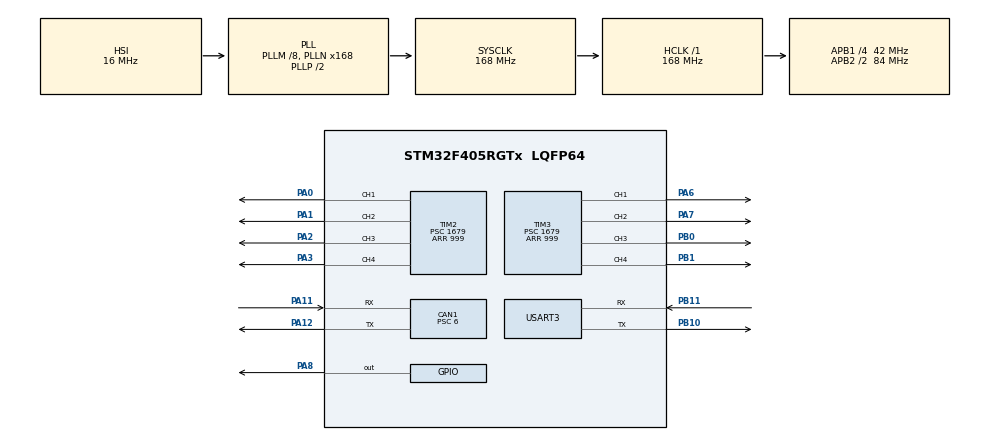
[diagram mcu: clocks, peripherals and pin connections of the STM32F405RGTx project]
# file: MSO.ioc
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CAN1.BS1=CAN_BS1_4TQ
CAN1.BS2=CAN_BS2_2TQ
CAN1.CalculateBaudRate=1000000
CAN1.CalculateTimeBit=1000
CAN1.CalculateTimeQuantum=142.85714285714286
CAN1.Mode=CAN_MODE_NORMAL
CAN1.Prescaler=6
Dma.Request0=USART3_RX
Dma.Request1=USART3_TX
Dma.USART3_RX.0.Direction=DMA_PERIPH_TO_MEMORY
Dma.USART3_RX.0.FIFOMode=DMA_FIFOMODE_DISABLE
Dma.USART3_RX.0.Instance=DMA1_Stream1
Dma.USART3_RX.0.MemDataAlignment=DMA_MDATAALIGN_BYTE
Dma.USART3_RX.0.MemInc=DMA_MINC_ENABLE
Dma.USART3_RX.0.Mode=DMA_NORMAL
Dma.USART3_RX.0.PeriphDataAlignment=DMA_PDATAALIGN_BYTE
Dma.USART3_RX.0.PeriphInc=DMA_PINC_DISABLE
Dma.USART3_RX.0.Priority=DMA_PRIORITY_LOW
Dma.USART3_TX.1.Direction=DMA_MEMORY_TO_PERIPH
Dma.USART3_TX.1.FIFOMode=DMA_FIFOMODE_DISABLE
Dma.USART3_TX.1.Instance=DMA1_Stream3
Dma.USART3_TX.1.MemDataAlignment=DMA_MDATAALIGN_BYTE
Dma.USART3_TX.1.MemInc=DMA_MINC_ENABLE
Dma.USART3_TX.1.Mode=DMA_NORMAL
Dma.USART3_TX.1.PeriphDataAlignment=DMA_PDATAALIGN_BYTE
Dma.USART3_TX.1.PeriphInc=DMA_PINC_DISABLE
Dma.USART3_TX.1.Priority=DMA_PRIORITY_LOW
FREERTOS.Tasks01=defaultTask,0,128,StartDefaultTask,Default,NULL,Dynamic,NULL,NULL
Mcu.Family=STM32F4
Mcu.Name=STM32F405RGTx
Mcu.Package=LQFP64
NVIC.CAN1_RX0_IRQn=true\:5\:0\:false\:false\:true\:true\:true\:true\:true
NVIC.CAN1_RX1_IRQn=true\:5\:0\:false\:false\:true\:true\:true\:true\:true
NVIC.DMA1_Stream1_IRQn=true\:5\:0\:false\:false\:true\:true\:false\:true\:true
NVIC.DMA1_Stream3_IRQn=true\:5\:0\:false\:false\:true\:true\:false\:true\:true
NVIC.PriorityGroup=NVIC_PRIORITYGROUP_4
NVIC.TIM4_IRQn=true\:15\:0\:false\:false\:true\:false\:false\:true\:true
NVIC.TimeBase=TIM4_IRQn
NVIC.TimeBaseIP=TIM4
NVIC.USART3_IRQn=true\:5\:0\:false\:false\:true\:true\:true\:true\:true
PA0-WKUP.Signal=S_TIM2_CH1_ETR
PA1.Signal=S_TIM2_CH2
PA11.Mode=CAN_Activate
PA11.Signal=CAN1_RX
PA12.Mode=CAN_Activate
PA12.Signal=CAN1_TX
PA13.Mode=Serial_Wire
PA13.Signal=SYS_JTMS-SWDIO
PA14.Mode=Serial_Wire
PA14.Signal=SYS_JTCK-SWCLK
PA2.Signal=S_TIM2_CH3
PA3.Signal=S_TIM2_CH4
PA6.Signal=S_TIM3_CH1
PA7.Signal=S_TIM3_CH2
PA8.PinState=GPIO_PIN_SET
PA8.Signal=GPIO_Output
PB0.Signal=S_TIM3_CH3
PB1.Signal=S_TIM3_CH4
PB10.Mode=Asynchronous
PB10.Signal=USART3_TX
PB11.Mode=Asynchronous
PB11.Signal=USART3_RX
PC14-OSC32_IN.Mode=LSE-External-Oscillator
PC14-OSC32_IN.Signal=RCC_OSC32_IN
PC15-OSC32_OUT.Mode=LSE-External-Oscillator
PC15-OSC32_OUT.Signal=RCC_OSC32_OUT
PH0-OSC_IN.Mode=HSE-External-Oscillator
PH0-OSC_IN.Signal=RCC_OSC_IN
PH1-OSC_OUT.Mode=HSE-External-Oscillator
PH1-OSC_OUT.Signal=RCC_OSC_OUT
ProjectManager.HeapSize=0x200
ProjectManager.StackSize=0x400
ProjectManager.TargetToolchain=MDK-ARM V5.32
RCC.48MHZClocksFreq_Value=84000000
RCC.AHBFreq_Value=168000000
RCC.APB1CLKDivider=RCC_HCLK_DIV4
RCC.APB1Freq_Value=42000000
RCC.APB1TimFreq_Value=84000000
RCC.APB2CLKDivider=RCC_HCLK_DIV2
RCC.APB2Freq_Value=84000000
RCC.APB2TimFreq_Value=168000000
RCC.CortexFreq_Value=168000000
RCC.HCLKFreq_Value=168000000
RCC.HSE_VALUE=25000000
RCC.HSI_VALUE=16000000
RCC.PLLM=8
RCC.PLLN=168
RCC.SYSCLKFreq_VALUE=168000000
RCC.SYSCLKSource=RCC_SYSCLKSOURCE_PLLCLK
RCC.VCOOutputFreq_Value=336000000
SH.S_TIM2_CH1_ETR.0=TIM2_CH1,PWM Generation1 CH1
SH.S_TIM2_CH2.0=TIM2_CH2,PWM Generation2 CH2
SH.S_TIM2_CH3.0=TIM2_CH3,PWM Generation3 CH3
SH.S_TIM2_CH4.0=TIM2_CH4,PWM Generation4 CH4
SH.S_TIM3_CH1.0=TIM3_CH1,PWM Generation1 CH1
SH.S_TIM3_CH2.0=TIM3_CH2,PWM Generation2 CH2
SH.S_TIM3_CH3.0=TIM3_CH3,PWM Generation3 CH3
SH.S_TIM3_CH4.0=TIM3_CH4,PWM Generation4 CH4
TIM2.AutoReloadPreload=TIM_AUTORELOAD_PRELOAD_ENABLE
TIM2.Channel-PWM\ Generation1\ CH1=TIM_CHANNEL_1
TIM2.Channel-PWM\ Generation2\ CH2=TIM_CHANNEL_2
TIM2.Channel-PWM\ Generation3\ CH3=TIM_CHANNEL_3
TIM2.Channel-PWM\ Generation4\ CH4=TIM_CHANNEL_4
TIM2.Period=999
TIM2.Prescaler=1679
TIM3.Channel-PWM\ Generation1\ CH1=TIM_CHANNEL_1
TIM3.Channel-PWM\ Generation2\ CH2=TIM_CHANNEL_2
TIM3.Channel-PWM\ Generation3\ CH3=TIM_CHANNEL_3
TIM3.Channel-PWM\ Generation4\ CH4=TIM_CHANNEL_4
TIM3.Period=999
TIM3.Prescaler=1679
USART3.VirtualMode=VM_ASYNC
VP_FREERTOS_VS_CMSIS_V1.Mode=CMSIS_V1
VP_SYS_VS_tim4.Mode=TIM4
board=custom

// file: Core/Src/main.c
/* USER CODE BEGIN Header */
/**
  ******************************************************************************
  * @file           : main.c
  * @brief          : Main program body
  ******************************************************************************
  * @attention
  *
  * Copyright (c) 2024 STMicroelectronics.
  * All rights reserved.
  *
  * This software is licensed under terms that can be found in the LICENSE file
  * in the root directory of this software component.
  * If no LICENSE file comes with this software, it is provided AS-IS.
  *
  ******************************************************************************
  */
/* USER CODE END Header */
#include "main.h"
#include "cmsis_os.h"
#include "can.h"
#include "dma.h"
#include "tim.h"
#include "usart.h"
#include "gpio.h"

/* USER CODE BEGIN Includes */
#include "string.h"
#include "canconfig.h"
#include "stdio.h"

/* USER CODE END Includes */

/* USER CODE BEGIN PV */
TaskHandle_t can_test_Handle = NULL;
TaskHandle_t uart_test_Handle=NULL;
TaskHandle_t pwm_test_Handle=NULL;

/* USER CODE END PV */

void SystemClock_Config(void);
void MX_FREERTOS_Init(void);

/* USER CODE BEGIN 0 */
 int v=8000;
 //  放到发送函数中进行解码发送
void can_test(void  * argument)
{

	HAL_Delay(40);
	for(;;)
	{
  //放在内部执行函数中进行解算
	set_GM6020_motor_voltage(&hcan1,v);
  	osDelay(1);

	}

}
void uart_test(void *argument)
{
	 //数组存放名字
	char name[3]={0};
	for(;;)
	{
		 name[0]='Z';
		name[1]='Z';
		name[2]='H';
		 //while(__HAL_UART_GET_FLAG(&huart3,UART_FLAG_RXNE)==RESET);
	  HAL_UART_Transmit(&huart3,(uint8_t*)&name,3,0xffff);
	  printf("%s \n\r",name);

	}
}
void pwm_test(void *argument)
{
	int i=0;
	for(;;)

	{
		 while(i<999)
	  {
			i++;
	     __HAL_TIM_SetCompare(&htim3,TIM_CHANNEL_1,i);
		  __HAL_TIM_SetCompare(&htim3,TIM_CHANNEL_2,i);
		  __HAL_TIM_SetCompare(&htim3,TIM_CHANNEL_3,i);
		  __HAL_TIM_SetCompare(&htim3,TIM_CHANNEL_4,i);
		  HAL_Delay(1);
	  }
	  while(i)
	  {
			i--;
		  __HAL_TIM_SetCompare(&htim2,TIM_CHANNEL_1,i);
		  __HAL_TIM_SetCompare(&htim2,TIM_CHANNEL_2,i);
		  __HAL_TIM_SetCompare(&htim2,TIM_CHANNEL_3,i);
		  __HAL_TIM_SetCompare(&htim2,TIM_CHANNEL_4,i);
		  HAL_Delay(1);
	  }

	  HAL_Delay(200);
	}

}

/* USER CODE END 0 */

int main(void)
{

  /* MCU Configuration--------------------------------------------------------*/

  /* Reset of all peripherals, Initializes the Flash interface and the Systick. */
  HAL_Init();

  /* Configure the system clock */
  SystemClock_Config();

  /* Initialize all configured peripherals */
  MX_GPIO_Init();
  MX_DMA_Init();
  MX_CAN1_Init();
  MX_USART3_UART_Init();
  MX_TIM2_Init();
  MX_TIM3_Init();
  /* USER CODE BEGIN 2 */
     //全部通道打开
	HAL_TIM_PWM_Start(&htim2,TIM_CHANNEL_1);
	HAL_TIM_PWM_Start(&htim2,TIM_CHANNEL_2);
	HAL_TIM_PWM_Start(&htim2,TIM_CHANNEL_3);
	HAL_TIM_PWM_Start(&htim2,TIM_CHANNEL_4);
	HAL_TIM_PWM_Start(&htim3,TIM_CHANNEL_1);
	HAL_TIM_PWM_Start(&htim3,TIM_CHANNEL_2);
	HAL_TIM_PWM_Start(&htim3,TIM_CHANNEL_3);
	HAL_TIM_PWM_Start(&htim3,TIM_CHANNEL_4);

	HAL_Delay(200);

  bsp_can1_filter_config_16();
	xTaskCreate(can_test,"can_test",128,NULL,3,&can_test_Handle);
	xTaskCreate(uart_test,"uart_test",128,NULL,3,&uart_test_Handle);
	xTaskCreate(pwm_test,"pwm_test",128,NULL,3,&pwm_test_Handle);

  /* USER CODE END 2 */

  /* Call init function for freertos objects (in freertos.c) */
  MX_FREERTOS_Init();

  /* Start scheduler */
  osKernelStart();
  /* We should never get here as control is now taken by the scheduler */
  /* Infinite loop */
  while (1)
  {

  }
}

void SystemClock_Config(void)
{
  RCC_OscInitTypeDef RCC_OscInitStruct = {0};
  RCC_ClkInitTypeDef RCC_ClkInitStruct = {0};

  /** Configure the main internal regulator output voltage
  */
  __HAL_RCC_PWR_CLK_ENABLE();
  __HAL_PWR_VOLTAGESCALING_CONFIG(PWR_REGULATOR_VOLTAGE_SCALE1);

  /** Initializes the RCC Oscillators according to the specified parameters
  * in the RCC_OscInitTypeDef structure.
  */
  RCC_OscInitStruct.OscillatorType = RCC_OSCILLATORTYPE_HSI;
  RCC_OscInitStruct.HSIState = RCC_HSI_ON;
  RCC_OscInitStruct.HSICalibrationValue = RCC_HSICALIBRATION_DEFAULT;
  RCC_OscInitStruct.PLL.PLLState = RCC_PLL_ON;
  RCC_OscInitStruct.PLL.PLLSource = RCC_PLLSOURCE_HSI;
  RCC_OscInitStruct.PLL.PLLM = 8;
  RCC_OscInitStruct.PLL.PLLN = 168;
  RCC_OscInitStruct.PLL.PLLP = RCC_PLLP_DIV2;
  RCC_OscInitStruct.PLL.PLLQ = 4;
  if (HAL_RCC_OscConfig(&RCC_OscInitStruct) != HAL_OK)
  {
    Error_Handler();
  }

  /** Initializes the CPU, AHB and APB buses clocks
  */
  RCC_ClkInitStruct.ClockType = RCC_CLOCKTYPE_HCLK|RCC_CLOCKTYPE_SYSCLK
                              |RCC_CLOCKTYPE_PCLK1|RCC_CLOCKTYPE_PCLK2;
  RCC_ClkInitStruct.SYSCLKSource = RCC_SYSCLKSOURCE_PLLCLK;
  RCC_ClkInitStruct.AHBCLKDivider = RCC_SYSCLK_DIV1;
  RCC_ClkInitStruct.APB1CLKDivider = RCC_HCLK_DIV4;
  RCC_ClkInitStruct.APB2CLKDivider = RCC_HCLK_DIV2;

  if (HAL_RCC_ClockConfig(&RCC_ClkInitStruct, FLASH_LATENCY_5) != HAL_OK)
  {
    Error_Handler();
  }
}

void HAL_TIM_PeriodElapsedCallback(TIM_HandleTypeDef *htim)
{
  if (htim->Instance == TIM4) {
    HAL_IncTick();
  }
}

void Error_Handler(void)
{
  __disable_irq();
  while (1)
  {
  }
}
